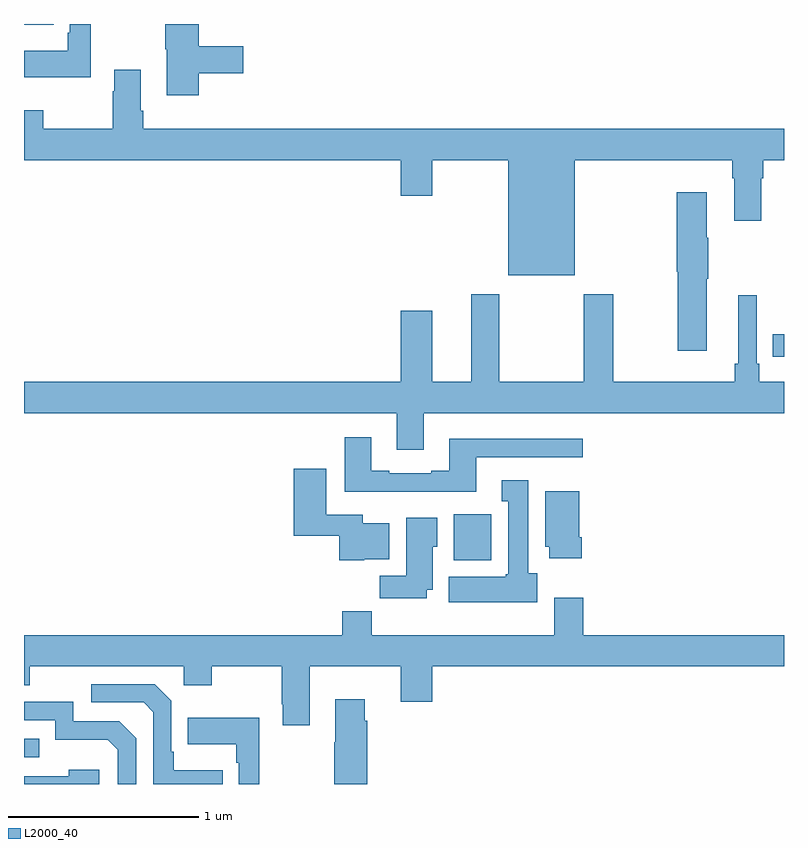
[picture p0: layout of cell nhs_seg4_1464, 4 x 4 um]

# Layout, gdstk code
import gdstk
lib = gdstk.Library(unit=1e-6, precision=1e-09)
def R(c, l, rs):  # rectangles x0, y0, x1, y1
    for r in rs: c.add(gdstk.rectangle(r[:2], r[2:], *l))
def P(c, l, *ps):  # polygons
    for p in ps: c.add(gdstk.Polygon(p, *l))
L2000_40 = (2000, 40)

nhs_seg4_1464 = lib.new_cell('nhs_seg4_1464')
R(nhs_seg4_1464, L2000_40, [(187,763.041,187.079,763.137), (189.263,764.078,189.46,764.32), (190.942,765.15,191,765.266), (187,766.895,187.157,766.9)])
P(nhs_seg4_1464, L2000_40, [(187.919,766.642),(188.155,766.642),(188.155,766.784),(187.919,766.784),(187.919,766.9),(187.744,766.9),(187.744,766.767),(187.751,766.767),(187.751,766.524),(187.919,766.524)],
  [(187.351,766.9),(187.242,766.9),(187.242,766.855),(187.23,766.855),(187.23,766.759),(187,766.759),(187,766.619),(187.351,766.619)],
  [(189.898,766.184),(190.727,766.184),(190.727,766.088),(190.739,766.088),(190.739,765.864),(190.879,765.864),(190.879,766.088),(190.892,766.088),(190.892,766.184),(191,766.184),(191,766.348),(187.628,766.348),(187.628,766.444),(187.615,766.444),(187.615,766.66),(187.475,766.66),(187.475,766.547),(187.468,766.547),(187.468,766.348),(187.101,766.348),(187.101,766.447),(187,766.447),(187,766.184),(188.984,766.184),(188.984,765.996),(189.148,765.996),(189.148,766.184),(189.548,766.184),(189.548,765.578),(189.898,765.578)],
  [(190.594,765.559),(190.602,765.559),(190.602,765.776),(190.594,765.776),(190.594,766.015),(190.436,766.015),(190.436,765.597),(190.441,765.597),(190.441,765.18),(190.594,765.18)],
  [(191,765.016),(190.871,765.016),(190.871,765.112),(190.857,765.112),(190.857,765.472),(190.76,765.472),(190.76,765.112),(190.741,765.112),(190.741,765.016),(190.101,765.016),(190.101,765.478),(189.946,765.478),(189.946,765.016),(189.501,765.016),(189.501,765.478),(189.353,765.478),(189.353,765.016),(189.148,765.016),(189.148,765.391),(188.984,765.391),(188.984,765.016),(187,765.016),(187,764.852),(188.963,764.852),(188.963,764.658),(189.103,764.658),(189.103,764.852),(191,764.852)],
  [(189.379,764.619),(189.94,764.619),(189.94,764.716),(189.239,764.716),(189.239,764.548),(189.143,764.548),(189.143,764.535),(188.923,764.535),(188.923,764.548),(188.827,764.548),(188.827,764.725),(188.687,764.725),(188.687,764.438),(189.379,764.438)],
  [(188.79,764.084),(188.923,764.084),(188.923,764.272),(188.782,764.272),(188.782,764.317),(188.59,764.317),(188.59,764.56),(188.42,764.56),(188.42,764.207),(188.66,764.207),(188.66,764.078),(188.79,764.078)],
  [(189.7,764.01),(189.655,764.01),(189.655,764.5),(189.515,764.5),(189.515,764.387),(189.548,764.387),(189.548,764.004),(189.535,764.004),(189.535,763.99),(189.236,763.99),(189.236,763.856),(189.7,763.856)],
  [(189.935,764.2),(189.922,764.2),(189.922,764.44),(189.743,764.44),(189.743,764.148),(189.764,764.148),(189.764,764.088),(189.935,764.088)],
  [(189.121,763.922),(189.151,763.922),(189.151,764.148),(189.175,764.148),(189.175,764.302),(189.011,764.302),(189.011,763.996),(188.872,763.996),(188.872,763.878),(189.121,763.878)],
  [(188.503,763.52),(188.984,763.52),(188.984,763.332),(189.148,763.332),(189.148,763.52),(191,763.52),(191,763.684),(189.944,763.684),(189.944,763.879),(189.791,763.879),(189.791,763.684),(188.831,763.684),(188.831,763.808),(188.675,763.808),(188.675,763.684),(187,763.684),(187,763.421),(187.029,763.421),(187.029,763.52),(187.842,763.52),(187.842,763.421),(187.989,763.421),(187.989,763.52),(188.356,763.52),(188.356,763.321),(188.363,763.321),(188.363,763.209),(188.503,763.209)],
  [(188.045,762.973),(187.789,762.973),(187.789,763.069),(187.776,763.069),(187.776,763.338),(187.689,763.425),(187.353,763.425),(187.353,763.329),(187.629,763.329),(187.68,763.278),(187.68,762.9),(188.045,762.9)],
  [(188.807,763.232),(188.794,763.232),(188.794,763.345),(188.639,763.345),(188.639,763.121),(188.632,763.121),(188.632,762.9),(188.807,762.9)],
  [(187.59,763.14),(187.5,763.23),(187.26,763.23),(187.26,763.332),(187,763.332),(187,763.236),(187.164,763.236),(187.164,763.133),(187.441,763.133),(187.494,763.08),(187.494,762.9),(187.59,762.9)],
  [(188.239,763.249),(187.861,763.249),(187.861,763.109),(188.118,763.109),(188.118,763.013),(188.13,763.013),(188.13,762.9),(188.239,762.9)],
  [(187.396,762.976),(187.235,762.976),(187.235,762.942),(187,762.942),(187,762.9),(187.396,762.9)])

lib.write_gds('nhs_seg4_1464.gds')
